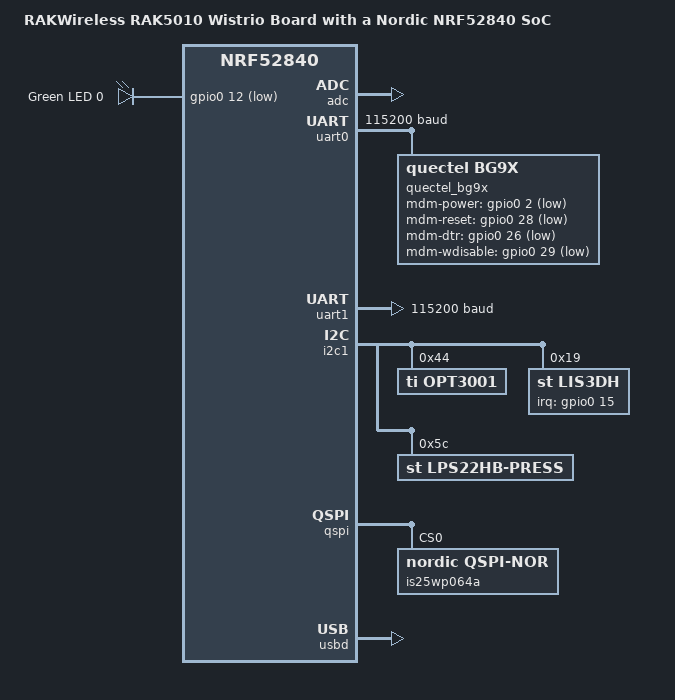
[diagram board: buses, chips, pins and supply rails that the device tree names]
/*
 * Copyright (c) 2020 Guillaume Paquet <guillaume.paquet@smile.fr>
 *
 * SPDX-License-Identifier: Apache-2.0
 */

/dts-v1/;
#include <nordic/nrf52840_qiaa.dtsi>
#include "rak5010_nrf52840-pinctrl.dtsi"

/ {
	model = "RAKWireless RAK5010 Wistrio Board with a Nordic NRF52840 SoC";
	compatible = "nordic,rak5010_nrf52840";

	chosen {
		zephyr,console = &uart1;
		zephyr,shell-uart = &uart1;
		zephyr,uart-mcumgr = &uart1;
		zephyr,bt-mon-uart = &uart1;
		zephyr,bt-c2h-uart = &uart1;
		zephyr,sram = &sram0;
		zephyr,flash = &flash0;
		zephyr,code-partition = &slot0_partition;
	};

	leds {
		compatible = "gpio-leds";
		led0: led_0 {
			gpios = <&gpio0 12 GPIO_ACTIVE_LOW>;
			label = "Green LED 0";
		};
	};

	/* Declaration of aliases */
	aliases {
		led0 = &led0;
		watchdog0 = &wdt0;
		accel0 = &lis3dh;
	};
};

&adc {
	status = "okay";
};

&gpiote {
	status = "okay";
};

&gpio0 {
	status = "okay";
};

&gpio1 {
	status = "okay";
};

&uart0 {
	compatible = "nordic,nrf-uart";
	status = "okay";
	current-speed = <115200>;

	/* QUECTEL BG9X */
	pinctrl-0 = <&uart0_default>;
	pinctrl-1 = <&uart0_sleep>;
	pinctrl-names = "default", "sleep";
	quectel_bg9x: quectel_bg9x {
		compatible = "quectel,bg9x";
		mdm-power-gpios = <&gpio0 2 GPIO_ACTIVE_LOW>;
		mdm-reset-gpios = <&gpio0 28 GPIO_ACTIVE_LOW>;
		mdm-dtr-gpios = <&gpio0 26 GPIO_ACTIVE_LOW>;
		mdm-wdisable-gpios = <&gpio0 29 GPIO_ACTIVE_LOW>;
		status = "okay";
	};
};

&uart1 {
	current-speed = <115200>;
	status = "okay";
	pinctrl-0 = <&uart1_default>;
	pinctrl-1 = <&uart1_sleep>;
	pinctrl-names = "default", "sleep";
};

&i2c1 {
	compatible = "nordic,nrf-twi";
	status = "okay";

	/* TI OPT3001 light sensor */
	pinctrl-0 = <&i2c1_default>;
	pinctrl-1 = <&i2c1_sleep>;
	pinctrl-names = "default", "sleep";
	opt3001@44 {
		compatible = "ti,opt3001";
		reg = <0x44>;
	};

	/* ST Microelectronics LIS3DH motion sensor */
	lis3dh: lis3dh@19 {
		compatible = "st,lis3dh", "st,lis2dh";
		reg = <0x19>;
		irq-gpios = <&gpio0 15 0>;
	};

	/* ST Microelectronics LPS22HB pressure sensor */
	lps22hb-press@5c {
		compatible = "st,lps22hb-press";
		reg = <0x5c>;
	};
};

&qspi {
	status = "okay";
	pinctrl-0 = <&qspi_default>;
	pinctrl-1 = <&qspi_sleep>;
	pinctrl-names = "default", "sleep";
	is25wp064a: is25wp064a@0 {
		compatible = "nordic,qspi-nor";
		reg = <0>;
		writeoc = "pp4io";
		readoc = "read4io";
		sck-frequency = <16000000>;
		jedec-id = [9d 70 17];
		size = <67108864>;
		has-dpd;
		t-enter-dpd = <3000>;
		t-exit-dpd = <5000>;
	};
};

&flash0 {

	partitions {
		compatible = "fixed-partitions";
		#address-cells = <1>;
		#size-cells = <1>;

		boot_partition: partition@0 {
			label = "mcuboot";
			reg = <0x00000000 0x0000C000>;
		};
		slot0_partition: partition@c000 {
			label = "image-0";
			reg = <0x0000C000 0x00067000>;
		};
		slot1_partition: partition@73000 {
			label = "image-1";
			reg = <0x00073000 0x00067000>;
		};
		scratch_partition: partition@da000 {
			label = "image-scratch";
			reg = <0x000da000 0x0001e000>;
		};

		/*
		 * The flash starting at 0x000f8000 and ending at
		 * 0x000fffff is reserved for use by the application.
		 */

		/*
		 * Storage partition will be used by FCB/LittleFS/NVS
		 * if enabled.
		 */
		storage_partition: partition@f8000 {
			label = "storage";
			reg = <0x000f8000 0x00008000>;
		};
	};
};

zephyr_udc0: &usbd {
	compatible = "nordic,nrf-usbd";
	status = "okay";
};
